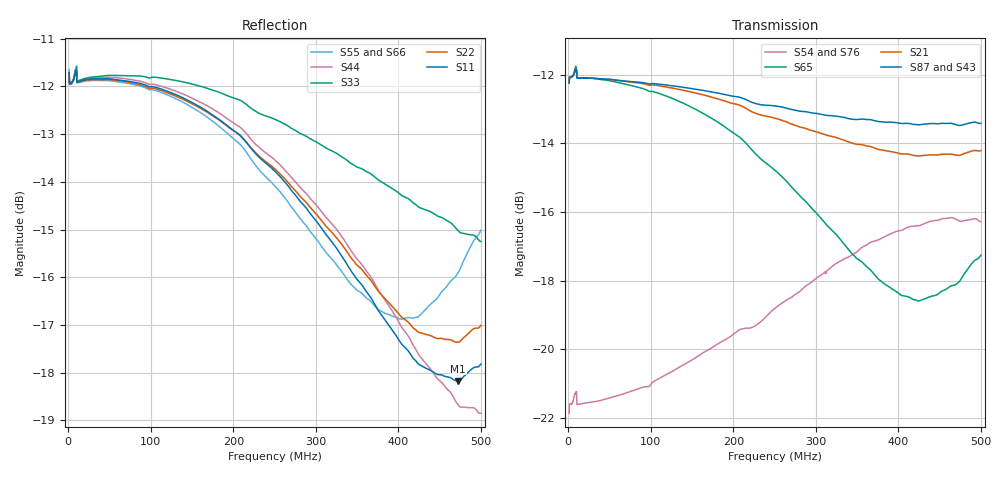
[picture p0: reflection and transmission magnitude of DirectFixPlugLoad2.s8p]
!Agilent Technologies,M9370A,MY54322275,A.02.50.04
!Agilent M9370A: A.02.50.04
!Date: Thursday, April 12, 2018 11:33:20
!Correction: S11(Full 8 Port(1,2,3,4,5,6,7,8))
!S12(Full 8 Port(1,2,3,4,5,6,7,8))
!S13(Full 8 Port(1,2,3,4,5,6,7,8))
!S14(Full 8 Port(1,2,3,4,5,6,7,8))
!S15(Full 8 Port(1,2,3,4,5,6,7,8))
!S16(Full 8 Port(1,2,3,4,5,6,7,8))
!S17(Full 8 Port(1,2,3,4,5,6,7,8))
!S18(Full 8 Port(1,2,3,4,5,6,7,8))
!S21(Full 8 Port(1,2,3,4,5,6,7,8))
!S22(Full 8 Port(1,2,3,4,5,6,7,8))
!S23(Full 8 Port(1,2,3,4,5,6,7,8))
!S24(Full 8 Port(1,2,3,4,5,6,7,8))
!S25(Full 8 Port(1,2,3,4,5,6,7,8))
!S26(Full 8 Port(1,2,3,4,5,6,7,8))
!S27(Full 8 Port(1,2,3,4,5,6,7,8))
!S28(Full 8 Port(1,2,3,4,5,6,7,8))
!S31(Full 8 Port(1,2,3,4,5,6,7,8))
!S32(Full 8 Port(1,2,3,4,5,6,7,8))
!S33(Full 8 Port(1,2,3,4,5,6,7,8))
!S34(Full 8 Port(1,2,3,4,5,6,7,8))
!S35(Full 8 Port(1,2,3,4,5,6,7,8))
!S36(Full 8 Port(1,2,3,4,5,6,7,8))
!S37(Full 8 Port(1,2,3,4,5,6,7,8))
!S38(Full 8 Port(1,2,3,4,5,6,7,8))
!S41(Full 8 Port(1,2,3,4,5,6,7,8))
!S42(Full 8 Port(1,2,3,4,5,6,7,8))
!S43(Full 8 Port(1,2,3,4,5,6,7,8))
!S44(Full 8 Port(1,2,3,4,5,6,7,8))
!S45(Full 8 Port(1,2,3,4,5,6,7,8))
!S46(Full 8 Port(1,2,3,4,5,6,7,8))
!S47(Full 8 Port(1,2,3,4,5,6,7,8))
!S48(Full 8 Port(1,2,3,4,5,6,7,8))
!S51(Full 8 Port(1,2,3,4,5,6,7,8))
!S52(Full 8 Port(1,2,3,4,5,6,7,8))
!S53(Full 8 Port(1,2,3,4,5,6,7,8))
!S54(Full 8 Port(1,2,3,4,5,6,7,8))
!S55(Full 8 Port(1,2,3,4,5,6,7,8))
!S56(Full 8 Port(1,2,3,4,5,6,7,8))
!S57(Full 8 Port(1,2,3,4,5,6,7,8))
!S58(Full 8 Port(1,2,3,4,5,6,7,8))
!S61(Full 8 Port(1,2,3,4,5,6,7,8))
!S62(Full 8 Port(1,2,3,4,5,6,7,8))
!S63(Full 8 Port(1,2,3,4,5,6,7,8))
!S64(Full 8 Port(1,2,3,4,5,6,7,8))
!S65(Full 8 Port(1,2,3,4,5,6,7,8))
!S66(Full 8 Port(1,2,3,4,5,6,7,8))
!S67(Full 8 Port(1,2,3,4,5,6,7,8))
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# Hz S  RI  R 50
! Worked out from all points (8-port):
!   1000 points, 1 MHz to 500 MHz, reference 50 ohm
!   strongest paths, dB at 1 MHz, 125.9 MHz, 250.7 MHz, 375.6 MHz, 500 MHz:
!     S87: -12.2, -12.3, -12.9, -13.4, -13.4
!     S43: -12.2, -12.3, -13.0, -13.5, -13.5
!     S21: -12.2, -12.4, -13.3, -14.2, -14.2
!     S65: -12.2, -12.7, -14.8, -18.0, -17.3
!     S54: -21.9, -20.6, -18.8, -16.8, -16.3
!     S76: -21.9, -20.7, -19.0, -17.1, -16.6
!   lowest |S11| = -18.2 dB at 472.5 MHz (marker M1), VSWR 1.28, Z = 63.7 + j3.15 ohm
!   |S11| at or under -10 dB: start of sweep to end of sweep
